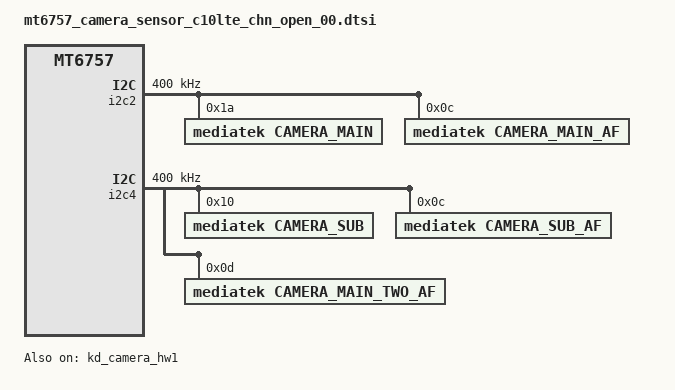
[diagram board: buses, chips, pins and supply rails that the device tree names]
/* Camera sensor dtsi file */

&i2c2 {
	#address-cells = <1>;
	#size-cells = <0>;
	clock-frequency = <400000>;
	mediatek,use-open-drain;
	camera_main@1a {
		compatible = "mediatek,camera_main";
		reg = <0x1a>;
		status = "okay";
	};

	camera_main_af@0c {
		compatible = "mediatek,camera_main_af";
		reg = <0x0c>;
		status = "okay";
	};

};

&i2c4 {
	#address-cells = <1>;
	#size-cells = <0>;
	clock-frequency = <400000>;
	mediatek,use-open-drain;
	camera_sub@10 {
		compatible = "mediatek,camera_sub";
		reg = <0x10>;
		status = "okay";
	};

	camera_sub_af@0c {
		compatible = "mediatek,camera_sub_af";
		reg = <0x0c>;
		status = "okay";
	};

	camera_main_two_af@0d {
		compatible = "mediatek,camera_main_two_af";
		reg = <0x0d>;
		status = "okay";
	};

};

/* CAMERA GPIO expander standardization */
&kd_camera_hw1 {
	mtkcam_cam_en  =     <&expander_gpios1 0 0>;
	mtkcam_cam_sel =     <&expander_gpios1 2 0>;
	mtkcam_main_vddret = <&expander_gpios1 5 0>;
	mtkcam_main_vddio =  <&expander_gpios1 1 0>;
	mtkcam_main_rst =    <&expander_gpios1 7 0>;
	mtkcam_sub_rst =    <&expander_gpios1 10 0>;
	mtkcam_main2_rst =  <&expander_gpios1 15 0>;
	mtkcam_main2_vddad = <&expander_gpios1 6 0>;
	mtkcam_main2_vddaf = <&expander_gpios1 8 0>;
	status = "okay";
};
/* CAMERA GPIO end */

